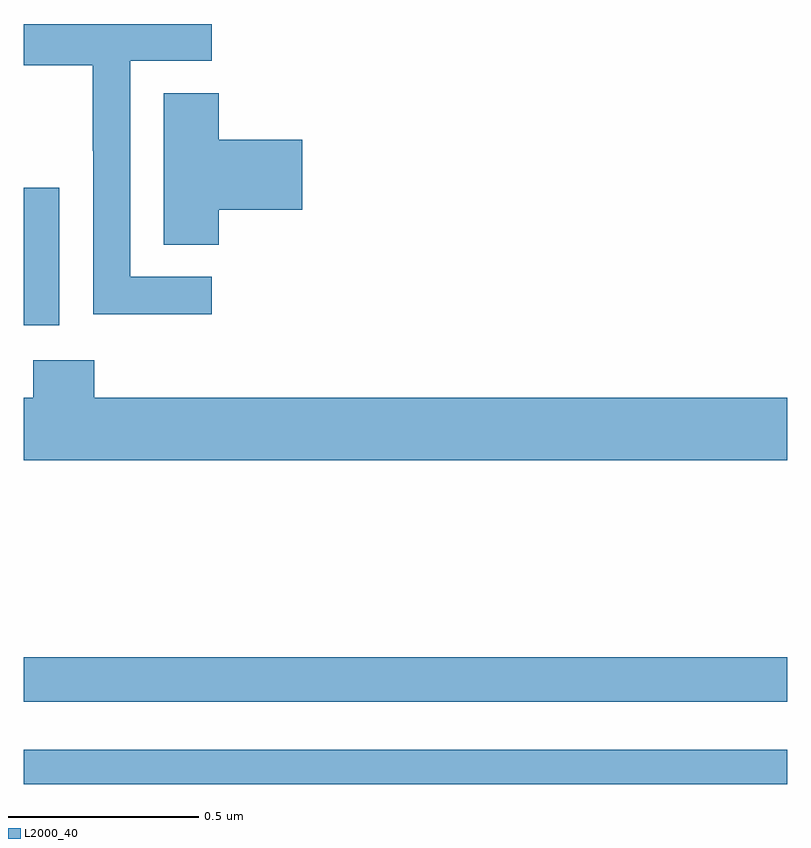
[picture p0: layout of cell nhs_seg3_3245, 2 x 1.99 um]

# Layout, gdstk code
import gdstk
lib = gdstk.Library(unit=1e-6, precision=1e-09)
def R(c, l, rs):  # rectangles x0, y0, x1, y1
    for r in rs: c.add(gdstk.rectangle(r[:2], r[2:], *l))
def P(c, l, *ps):  # polygons
    for p in ps: c.add(gdstk.Polygon(p, *l))
L2000_40 = (2000, 40)

nhs_seg3_3245 = lib.new_cell('nhs_seg3_3245')
R(nhs_seg3_3245, L2000_40, [(151,701.4,153,701.49), (151,701.616,153,701.732), (151,702.602,151.093,702.963)])
P(nhs_seg3_3245, L2000_40, [(151.492,702.729),(151.278,702.729),(151.278,703.296),(151.492,703.296),(151.492,703.392),(151,703.392),(151,703.284),(151.18,703.284),(151.18,703.06),(151.182,703.06),(151.182,702.631),(151.492,702.631)],
  [(151.511,702.905),(151.729,702.905),(151.729,703.088),(151.511,703.088),(151.511,703.211),(151.367,703.211),(151.367,702.814),(151.511,702.814)],
  [(153,702.412),(151.184,702.412),(151.184,702.511),(151.024,702.511),(151.024,702.412),(151,702.412),(151,702.248),(153,702.248)])

lib.write_gds('nhs_seg3_3245.gds')
